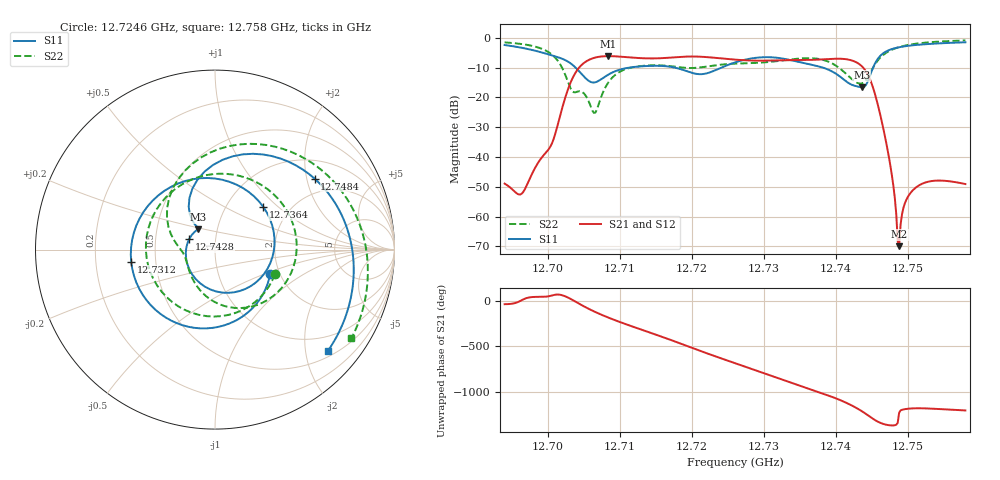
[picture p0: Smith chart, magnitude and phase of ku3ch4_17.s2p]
#  HZ  S  RI  R  50.00
! Rohde & Schwarz ZVA50 2Ports - Version 3.70 - 1145.1110k50 SN: 100192
! Date: 2025-10-24 10:56:55
! Measurements: S11 S21 S12 S22
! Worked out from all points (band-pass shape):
!   321 points, 12.694 GHz to 12.758 GHz, reference 50 ohm
!   highest |S21| = -6.11 dB at 12.7084 GHz (marker M1); lowest = -70.0 dB at 12.7488 GHz (marker M2)
!   |S21| within 3 dB of the highest: 12.70469 GHz to 12.74343 GHz (38.74 MHz wide, 0.304 % of centre)
!   lowest |S11| = -16.6 dB at 12.7436 GHz (marker M3), VSWR 1.35, Z = 40.3 + j9.24 ohm
!   |S11| at or under -10 dB: 12.70387 GHz to 12.71124 GHz (7.372 MHz wide, 0.058 % of centre); 12.71768 GHz to 12.72408 GHz (6.404 MHz wide, 0.0503 % of centre); 12.73823 GHz to 12.74517 GHz (6.942 MHz wide, 0.0545 % of centre)
!   |S22| runs from -25.2 to -0.9 dB; largest |S21 - S12| = 0.0086
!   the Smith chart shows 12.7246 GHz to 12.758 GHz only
!   S11 on the Smith chart (normalised r, x): 12.7246 GHz: 1.78, -0.55; 12.7312 GHz: 0.36, -0.06; 12.7364 GHz: 1.48, +0.80; 12.7428 GHz: 0.75, +0.09; 12.7484 GHz: 1.51, +2.23; 12.758 GHz: 0.63, -2.48
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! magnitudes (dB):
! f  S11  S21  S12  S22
! 12.694 GHz  -2.4  -48.9  -48.8  -1.5
! 12.6966 GHz  -3.4  -51.7  -51.6  -2.1
! 12.7006 GHz  -5.9  -35.3  -35.2  -5.6
! 12.703 GHz  -8.3  -16.0  -15.9  -16.0
! 12.7048 GHz  -12.4  -8.8  -8.7  -18.2
! 12.7066 GHz  -14.9  -6.6  -6.5  -25.1
! 12.7084 GHz  -12.3  -6.1  -6.0  -15.0
! 12.7154 GHz  -9.4  -6.8  -6.7  -9.2
! 12.7246 GHz  -9.5  -7.0  -6.9  -8.9
! 12.726 GHz  -8.2  -7.3  -7.2  -8.6
! 12.7312 GHz  -6.5  -7.6  -7.5  -8.0
! 12.7364 GHz  -8.9  -7.4  -7.3  -6.8
! 12.7368 GHz  -9.1  -7.4  -7.3  -6.8
! 12.7428 GHz  -16.2  -8.1  -8.0  -14.8
! 12.7436 GHz  -16.6  -9.5  -9.4  -15.3
! 12.7454 GHz  -8.8  -18.5  -18.4  -9.1
! 12.7474 GHz  -4.1  -40.3  -40.2  -4.4
! 12.7484 GHz  -3.3  -59.3  -59.2  -3.4
! 12.7488 GHz  -3.1  -70.0  -69.9  -3.1
! 12.7494 GHz  -2.9  -57.0  -56.9  -2.7
! 12.7508 GHz  -2.4  -50.9  -50.8  -2.1
! 12.758 GHz  -1.5  -49.1  -49.0  -0.9
